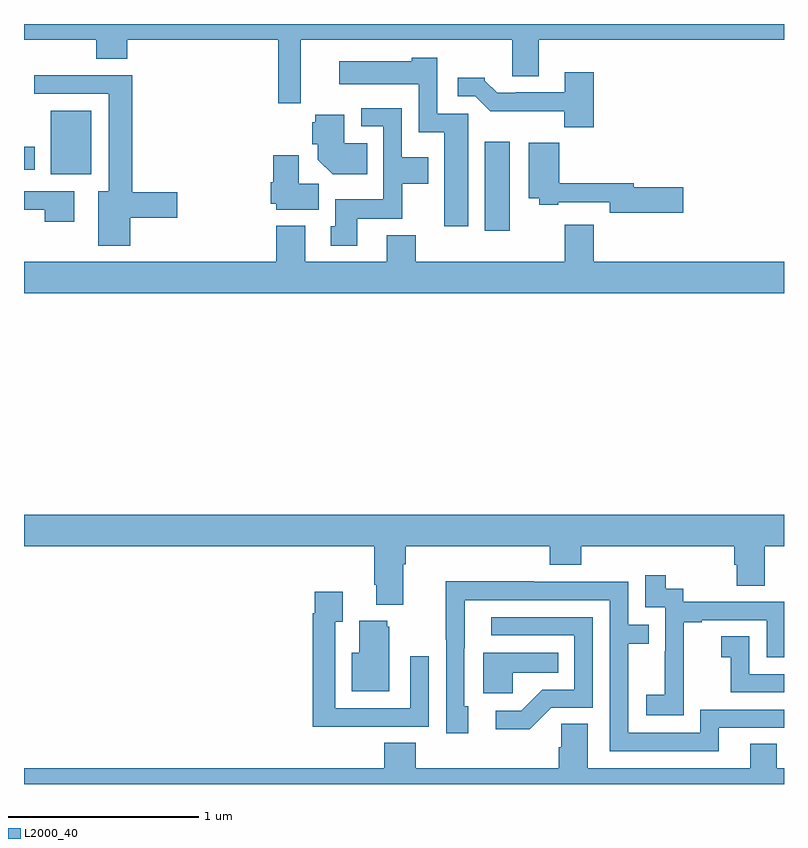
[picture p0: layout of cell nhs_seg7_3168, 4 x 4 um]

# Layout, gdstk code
import gdstk
lib = gdstk.Library(unit=1e-6, precision=1e-09)
def R(c, l, rs):  # rectangles x0, y0, x1, y1
    for r in rs: c.add(gdstk.rectangle(r[:2], r[2:], *l))
def P(c, l, *ps):  # polygons
    for p in ps: c.add(gdstk.Polygon(p, *l))
L2000_40 = (2000, 40)

nhs_seg7_3168 = lib.new_cell('nhs_seg7_3168')
R(nhs_seg7_3168, L2000_40, [(315.425,1032.912,315.556,1033.381), (313.142,1033.208,313.354,1033.543), (313,1033.232,313.057,1033.354)])
P(nhs_seg7_3168, L2000_40, [(313,1033.916),(313.379,1033.916),(313.379,1033.817),(313.544,1033.817),(313.544,1033.916),(314.338,1033.916),(314.338,1033.584),(314.456,1033.584),(314.456,1033.916),(315.569,1033.916),(315.569,1033.726),(315.709,1033.726),(315.709,1033.916),(317,1033.916),(317,1034),(313,1034)],
  [(315.337,1033.527),(315.174,1033.527),(315.174,1033.822),(315.042,1033.822),(315.042,1033.804),(314.658,1033.804),(314.658,1033.682),(315.078,1033.682),(315.078,1033.43),(315.212,1033.43),(315.212,1032.936),(315.337,1032.936)],
  [(315.998,1033.747),(315.845,1033.747),(315.845,1033.641),(315.589,1033.641),(315.589,1033.638),(315.49,1033.638),(315.426,1033.702),(315.426,1033.717),(315.282,1033.717),(315.282,1033.62),(315.375,1033.62),(315.454,1033.542),(315.843,1033.542),(315.843,1033.457),(315.998,1033.457)],
  [(313.558,1032.98),(313.807,1032.98),(313.807,1033.115),(313.571,1033.115),(313.571,1033.73),(313.053,1033.73),(313.053,1033.632),(313.445,1033.632),(313.445,1033.12),(313.391,1033.12),(313.391,1032.834),(313.558,1032.834)],
  [(314.755,1032.974),(314.991,1032.974),(314.991,1033.16),(315.127,1033.16),(315.127,1033.3),(314.988,1033.3),(314.988,1033.557),(314.775,1033.557),(314.775,1033.461),(314.892,1033.461),(314.892,1033.078),(314.639,1033.078),(314.639,1032.936),(314.615,1032.936),(314.615,1032.834),(314.755,1032.834)],
  [(314.807,1033.372),(314.686,1033.372),(314.686,1033.522),(314.534,1033.522),(314.534,1033.482),(314.516,1033.482),(314.516,1033.368),(314.546,1033.368),(314.546,1033.286),(314.624,1033.208),(314.807,1033.208)],
  [(316.471,1033.142),(316.21,1033.142),(316.21,1033.163),(315.818,1033.163),(315.818,1033.375),(315.656,1033.375),(315.656,1033.082),(315.711,1033.082),(315.711,1033.05),(315.811,1033.05),(315.811,1033.062),(316.082,1033.062),(316.082,1033.007),(316.471,1033.007)],
  [(314.551,1033.16),(314.446,1033.16),(314.446,1033.309),(314.312,1033.309),(314.312,1033.167),(314.299,1033.167),(314.299,1033.053),(314.328,1033.053),(314.328,1033.022),(314.551,1033.022)],
  [(313.264,1033.119),(313,1033.119),(313,1033.023),(313.108,1033.023),(313.108,1032.96),(313.264,1032.96)],
  [(317,1032.748),(315.998,1032.748),(315.998,1032.943),(315.845,1032.943),(315.845,1032.748),(315.062,1032.748),(315.062,1032.889),(314.909,1032.889),(314.909,1032.748),(314.479,1032.748),(314.479,1032.937),(314.327,1032.937),(314.327,1032.748),(313,1032.748),(313,1032.584),(317,1032.584)],
  [(314.995,1031.156),(315.008,1031.156),(315.008,1031.252),(315.767,1031.252),(315.767,1031.153),(315.932,1031.153),(315.932,1031.252),(316.739,1031.252),(316.739,1031.154),(316.751,1031.154),(316.751,1031.044),(316.899,1031.044),(316.899,1031.252),(317,1031.252),(317,1031.416),(313,1031.416),(313,1031.252),(314.843,1031.252),(314.843,1031.05),(314.855,1031.05),(314.855,1030.943),(314.995,1030.943)],
  [(316.473,1030.567),(316.472,1030.567),(316.472,1030.851),(316.567,1030.851),(316.567,1030.863),(316.908,1030.863),(316.908,1030.668),(317,1030.668),(317,1030.959),(316.47,1030.959),(316.47,1031.028),(316.378,1031.028),(316.378,1031.098),(316.269,1031.098),(316.269,1030.929),(316.374,1030.929),(316.374,1030.7),(316.373,1030.7),(316.373,1030.471),(316.275,1030.471),(316.275,1030.361),(316.473,1030.361)],
  [(316.657,1030.296),(317,1030.296),(317,1030.392),(316.56,1030.392),(316.56,1030.269),(316.179,1030.269),(316.179,1030.738),(316.289,1030.738),(316.289,1030.839),(316.179,1030.839),(316.179,1031.064),(315.683,1031.064),(315.683,1031.066),(315.22,1031.066),(315.22,1030.759),(315.222,1030.759),(315.222,1030.266),(315.337,1030.266),(315.337,1030.41),(315.318,1030.41),(315.318,1030.714),(315.319,1030.714),(315.319,1030.968),(316.083,1030.968),(316.083,1030.173),(316.657,1030.173)],
  [(314.813,1030.302),(315.129,1030.302),(315.129,1030.672),(315.033,1030.672),(315.033,1030.398),(314.637,1030.398),(314.637,1030.855),(314.677,1030.855),(314.677,1031.011),(314.529,1031.011),(314.529,1030.898),(314.521,1030.898),(314.521,1030.301),(314.813,1030.301)],
  [(315.774,1030.401),(315.993,1030.401),(315.993,1030.878),(315.459,1030.878),(315.459,1030.782),(315.897,1030.782),(315.897,1030.497),(315.728,1030.497),(315.617,1030.386),(315.483,1030.386),(315.483,1030.289),(315.661,1030.289)],
  [(314.923,1030.827),(314.912,1030.827),(314.912,1030.858),(314.765,1030.858),(314.765,1030.69),(314.726,1030.69),(314.726,1030.487),(314.923,1030.487)],
  [(317,1030.578),(316.818,1030.578),(316.818,1030.777),(316.671,1030.777),(316.671,1030.667),(316.72,1030.667),(316.72,1030.482),(317,1030.482)],
  [(315.573,1030.586),(315.812,1030.586),(315.812,1030.69),(315.416,1030.69),(315.416,1030.478),(315.573,1030.478)],
  [(316.823,1030.211),(316.823,1030.084),(315.967,1030.084),(315.967,1030.316),(315.828,1030.316),(315.828,1030.193),(315.815,1030.193),(315.815,1030.084),(315.062,1030.084),(315.062,1030.217),(314.897,1030.217),(314.897,1030.084),(313,1030.084),(313,1030),(317,1030),(317,1030.084),(316.962,1030.084),(316.962,1030.211)])

lib.write_gds('nhs_seg7_3168.gds')
